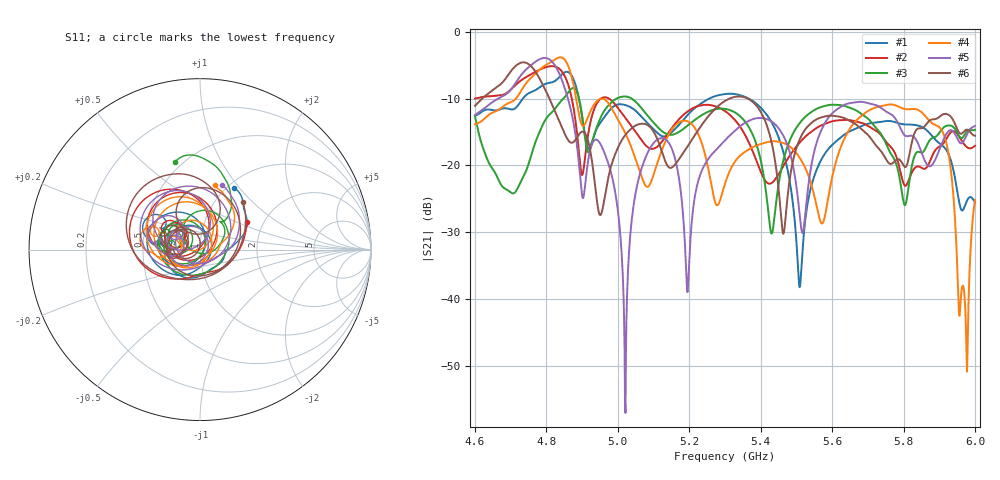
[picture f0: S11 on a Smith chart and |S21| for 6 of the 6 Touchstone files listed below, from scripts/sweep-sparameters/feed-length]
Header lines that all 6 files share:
! TOUCHSTONE file generated by CST MICROWAVE STUDIO
! Project name: test_tuning.cst
! Header version: 2024
! Port assignment regex: !\s*Touchstone port\s*([0-9]+)\s*=\s*(CST MWS port|CST DES external port|CST DES block port)\s*(.+)\s* \(\"(.*)\"\)(\s*mode\s*([0-9]+))?.*
! Touchstone port assignment:
! Touchstone port 1 = CST MWS port 1 ("Input1")
! Touchstone port 2 = CST MWS port 2 ("Input2")
# GHz S MA R 50
Fixed: airCoaxOuterDiameter = 3, chamferAngle = 45, chamferWidth = 24, connectorLength = 10, drillingHoleDiameter = 4.1, flareDiameter = 130, flareLength = 70, gratingDistance = 0, gratingGap = 1.90274, outletLength = 30, polarizerLength = 134, probe1Diameter = 1.3, probe1Distance = 14, probe1Length = 12, probe2Diameter = 1.3, probe2Distance = 0, probe2Length = 12, probeLength = 12, smaInnerDiameter = 1.3, smaOuterDiameter = 4.1, transitionCoefficient = 1.33, waveguideFeedLength = 30, waveguideSide = 50, waveguideThickness = 3, wireCount = 25, wireDiameter = 1.17699
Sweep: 4.6 GHz to 6 GHz
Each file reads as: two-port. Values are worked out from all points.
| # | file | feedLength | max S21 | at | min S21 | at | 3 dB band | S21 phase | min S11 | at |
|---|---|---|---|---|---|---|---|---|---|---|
| 1 | feed_length_2.s2p | 30 | -5.99 dB | 4.856 GHz | -38.2 dB | 5.509 GHz | 4.76 GHz-4.886 GHz | -23 deg at 5.3 GHz | -32.8 dB | 5.196 GHz |
| 2 | feed_length_3.s2p | 40 | -5.14 dB | 4.816 GHz | -23.0 dB | 5.805 GHz | 4.711 GHz-4.862 GHz | -81 deg at 5.3 GHz | -39.7 dB | 4.921 GHz |
| 3 | feed_length_6.s2p | 80 | -8.40 dB | 4.876 GHz | -30.2 dB | 5.43 GHz | 4.968 GHz-5.065 GHz | -29 deg at 5.3 GHz | -34.0 dB | 5.177 GHz |
| 4 | feed_length_8.s2p | 100 | -3.82 dB | 4.839 GHz | -50.8 dB | 5.978 GHz | 4.758 GHz-4.87 GHz | 71 deg at 5.3 GHz | -61.2 dB | 5.145 GHz |
| 5 | feed_length_9.s2p | 110 | -3.91 dB | 4.795 GHz | -57.0 dB | 5.021 GHz | 4.723 GHz-4.841 GHz | 38 deg at 5.3 GHz | -31.9 dB | 4.902 GHz |
| 6 | feed_length_10.s2p | 120 | -4.57 dB | 4.736 GHz | -30.2 dB | 5.464 GHz | 4.678 GHz-4.786 GHz | 7 deg at 5.3 GHz | -44.1 dB | 5.223 GHz |
